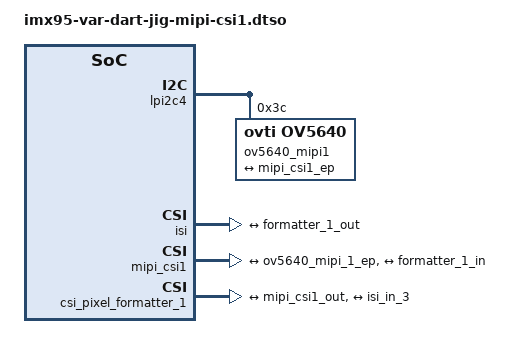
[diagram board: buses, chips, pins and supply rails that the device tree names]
// SPDX-License-Identifier: (GPL-2.0+ OR MIT)
/*
 * Copyright 2023 NXP
 * Copyright 2024 Variscite Ltd.
 */

#include "imx95-pinfunc.h"
#include <dt-bindings/gpio/gpio.h>

/dts-v1/;
/plugin/;
&lpi2c4 {
	#address-cells = <1>;
	#size-cells = <0>;
	status = "okay";

	ov5640_mipi1: ov5640_mipi1@3c {
		compatible = "ovti,ov5640";
		reg = <0x3c>;
		#address-cells = <1>;
		#size-cells = <0>;
		clocks = <&clk_ov5640_fixed>;
		clock-names = "xclk";
		assigned-clock-rates = <24000000>;
		status = "okay";

		port {
			ov5640_mipi_1_ep: endpoint {
				remote-endpoint = <&mipi_csi1_ep>;
				data-lanes = <1 2>;
				clock-lanes = <0>;
			};
		};
	};
};

&isi {
	status = "okay";

	ports {
		#address-cells = <1>;
		#size-cells = <0>;

		port@3 {
			reg = <3>;
			isi_in_3: endpoint {
				remote-endpoint = <&formatter_1_out>;
			};
		};
	};
};

&mipi_csi1 {
	status = "okay";

	ports {
		#address-cells = <1>;
		#size-cells = <0>;

		port@0 {
			reg = <0>;
			mipi_csi1_ep: endpoint {
				remote-endpoint = <&ov5640_mipi_1_ep>;
				data-lanes = <1 2>;
				clock-lanes = <0>;
			};
		};

		port@1 {
			reg = <1>;
				mipi_csi1_out: endpoint {
				remote-endpoint = <&formatter_1_in>;
			};
		};
	};
};

&csi_pixel_formatter_1 {
	status = "okay";

	ports {
		#address-cells = <1>;
		#size-cells = <0>;

		port@0 {
			reg = <0>;

			formatter_1_in: endpoint {
				remote-endpoint = <&mipi_csi1_out>;
			};
		};

		port@1 {
			reg = <1>;

			formatter_1_out: endpoint {
				remote-endpoint = <&isi_in_3>;
			};
		};
	};
};
